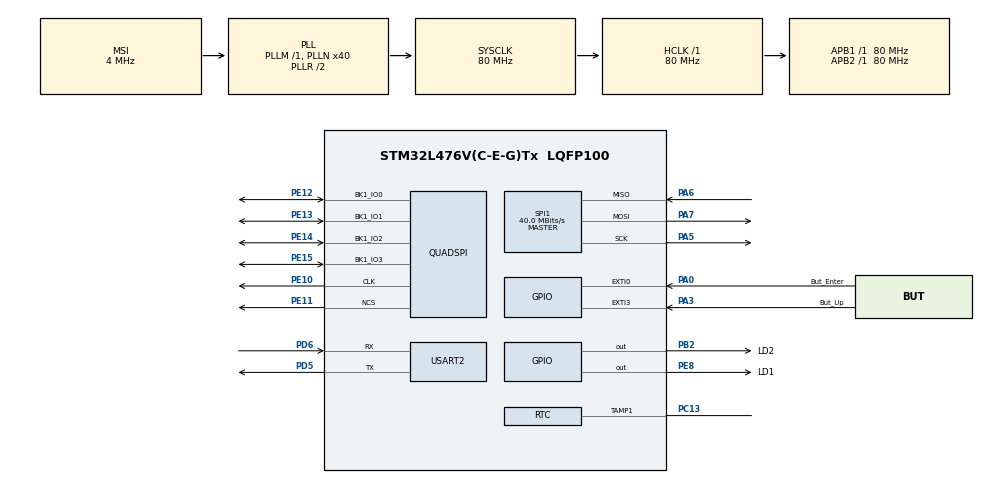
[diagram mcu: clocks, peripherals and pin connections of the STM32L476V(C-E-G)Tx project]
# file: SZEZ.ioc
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Mcu.Family=STM32L4
Mcu.Name=STM32L476V(C-E-G)Tx
Mcu.Package=LQFP100
NVIC.EXTI0_IRQn=true\:0\:0\:false\:false\:true\:true\:true
NVIC.EXTI3_IRQn=true\:0\:0\:false\:false\:true\:true\:true
NVIC.PriorityGroup=NVIC_PRIORITYGROUP_4
NVIC.RTC_WKUP_IRQn=true\:0\:0\:false\:false\:true\:true\:true
NVIC.TAMP_STAMP_IRQn=true\:0\:0\:false\:false\:true\:true\:true
NVIC.USART2_IRQn=true\:0\:0\:false\:false\:true\:true\:true
PA0.GPIO_Label=But_Enter
PA0.Signal=GPXTI0
PA3.GPIO_Label=But_Up
PA3.GPIO_PuPd=GPIO_PULLDOWN
PA3.Signal=GPXTI3
PA5.Mode=Full_Duplex_Master
PA5.Signal=SPI1_SCK
PA6.Mode=Full_Duplex_Master
PA6.Signal=SPI1_MISO
PA7.Mode=Full_Duplex_Master
PA7.Signal=SPI1_MOSI
PB2.GPIO_Label=LD2
PB2.Signal=GPIO_Output
PC13.Mode=Tamper 1 enabled
PC13.Signal=RTC_TAMP1
PC14-OSC32_IN\ (PC14).Mode=LSE-External-Oscillator
PC14-OSC32_IN\ (PC14).Signal=RCC_OSC32_IN
PC15-OSC32_OUT\ (PC15).Mode=LSE-External-Oscillator
PC15-OSC32_OUT\ (PC15).Signal=RCC_OSC32_OUT
PD5.Mode=Asynchronous
PD5.Signal=USART2_TX
PD6.Mode=Asynchronous
PD6.Signal=USART2_RX
PE10.Mode=Single Bank
PE10.Signal=QUADSPI_CLK
PE11.Mode=Single Bank
PE11.Signal=QUADSPI_NCS
PE12.Mode=Single Bank
PE12.Signal=QUADSPI_BK1_IO0
PE13.Mode=Single Bank
PE13.Signal=QUADSPI_BK1_IO1
PE14.Mode=Single Bank
PE14.Signal=QUADSPI_BK1_IO2
PE15.Mode=Single Bank
PE15.Signal=QUADSPI_BK1_IO3
PE8.GPIO_Label=LD1
PE8.Signal=GPIO_Output
ProjectManager.HeapSize=0x200
ProjectManager.StackSize=0x400
ProjectManager.TargetToolchain=TrueSTUDIO
RCC.ADCFreq_Value=16000000
RCC.AHBFreq_Value=80000000
RCC.APB1Freq_Value=80000000
RCC.APB1TimFreq_Value=80000000
RCC.APB2Freq_Value=80000000
RCC.APB2TimFreq_Value=80000000
RCC.CortexFreq_Value=80000000
RCC.HCLKFreq_Value=80000000
RCC.HSE_VALUE=8000000
RCC.HSI_VALUE=16000000
RCC.MSI_VALUE=4000000
RCC.PLLN=40
RCC.PREFETCH_ENABLE=1
RCC.RTCClockSelection=RCC_RTCCLKSOURCE_LSE
RCC.SYSCLKFreq_VALUE=80000000
RCC.SYSCLKSource=RCC_SYSCLKSOURCE_PLLCLK
RCC.USBFreq_Value=16000000
RCC.VCOOutputFreq_Value=160000000
RTC.WakeUpClock-WakeUp=RTC_WAKEUPCLOCK_CK_SPRE_16BITS
RTC.WakeUpCounter-WakeUp=4
SPI1.CalculateBaudRate=40.0 MBits/s
SPI1.Direction=SPI_DIRECTION_2LINES
SPI1.Mode=SPI_MODE_MASTER
SPI1.VirtualType=VM_MASTER
USART2.VirtualMode-Asynchronous=VM_ASYNC
VP_RTC_VS_RTC_Activate.Mode=RTC_Enabled
VP_RTC_VS_RTC_Calendar.Mode=RTC_Calendar
VP_RTC_VS_RTC_WakeUp_intern.Mode=WakeUp
board=32L476GDISCOVERY

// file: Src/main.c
/* USER CODE BEGIN Header */
/**
  ******************************************************************************
  * @file           : main.c
  * @brief          : Main program body
  ******************************************************************************
  * @attention
  *
  * <h2><center>&copy; Copyright (c) 2019 STMicroelectronics.
  * All rights reserved.</center></h2>
  *
  * This software component is licensed by ST under BSD 3-Clause license,
  * the "License"; You may not use this file except in compliance with the
  * License. You may obtain a copy of the License at:
  *                        opensource.org/licenses/BSD-3-Clause
  *
  ******************************************************************************
  */
/* USER CODE END Header */

#include "main.h"
#include "quadspi.h"
#include "rtc.h"
#include "spi.h"
#include "usart.h"
#include "gpio.h"

/* USER CODE BEGIN Includes */
#include <stdio.h>
#include <string.h>
#include "stm32l476g_discovery_qspi.h"
/* USER CODE END Includes */

/* USER CODE BEGIN PD */
#define TABSIZE 100
/* USER CODE END PD */

/* USER CODE BEGIN PV */
volatile uint8_t FlagEnter = 0;
volatile uint8_t FlagUp = 0;
/* USER CODE END PV */

void SystemClock_Config(void);
/* USER CODE BEGIN PFP */
void HAL_GPIO_EXTI_Callback(uint16_t GPIO_Pin)
{
	 if(GPIO_Pin == But_Enter_Pin)
	 {
		 FlagEnter = 1;
	 }

	 if(GPIO_Pin == But_Up_Pin)
	 {
		 FlagUp = 1;
	 }
}

/* USER CODE END PFP */

int main(void)
{
  /* USER CODE BEGIN 1 */

	char usartBuffer[50] = {0};
	uint32_t dataWrite4[TABSIZE] = {0x34};
	uint32_t dataRead4[TABSIZE] = {0x00};
	uint8_t xx = 0x10;
  /* USER CODE END 1 */

  /* MCU Configuration--------------------------------------------------------*/

  /* Reset of all peripherals, Initializes the Flash interface and the Systick. */
  HAL_Init();

  /* Configure the system clock */
  SystemClock_Config();

  /* Initialize all configured peripherals */
  MX_GPIO_Init();
  MX_QUADSPI_Init();
  MX_SPI1_Init();
  MX_USART2_UART_Init();
  MX_RTC_Init();
  /* USER CODE BEGIN 2 */
  //HAL_GPIO_TogglePin(LD1_GPIO_Port, LD1_Pin);
  BSP_QSPI_Init();
  WRITE_REG(QUADSPI->LPTR, 0xFFF);
  /* USER CODE END 2 */

  /* Infinite loop */
  /* USER CODE BEGIN WHILE */
  while (1)
  {
	  if (FlagEnter == 1)
	  {
		  HAL_GPIO_TogglePin(LD1_GPIO_Port, LD1_Pin);
		  BSP_QSPI_Erase_Block(1);
		  	  //QSPI_Flash_Erase_SubSector(i);

		  	  BSP_QSPI_Write(&xx, *dataWrite4, TABSIZE);
		  	  BSP_QSPI_Read(&xx, *dataWrite4, TABSIZE);
		  	  //QSPI_Flash_Read_Block_Byte(i*0x1000, 0x100, dataRead4);
		  	  if(memcmp(dataWrite4,dataRead4,0x100) == 0 )
		  	  {
		  		  sprintf(usartBuffer,"OK OK OK OK\r\n");
		  		  HAL_UART_Transmit(&huart2, (uint8_t*)usartBuffer,strlen(usartBuffer),0x1000);
		  	  }
		  	  else
		  	  {
		  		  sprintf(usartBuffer,"Error Error Error!!!\r\n");
		  		  HAL_UART_Transmit(&huart2, (uint8_t*)usartBuffer,strlen(usartBuffer),0x1000);
		  	  }

		  FlagEnter = 0;
	  }

	  if (FlagUp == 1)
	  {
		  HAL_GPIO_TogglePin(LD2_GPIO_Port, LD2_Pin);

	  	  FlagUp = 0;
	  }

    /* USER CODE END WHILE */

  }
}

void SystemClock_Config(void)
{
  RCC_OscInitTypeDef RCC_OscInitStruct = {0};
  RCC_ClkInitTypeDef RCC_ClkInitStruct = {0};
  RCC_PeriphCLKInitTypeDef PeriphClkInit = {0};

  /** Configure LSE Drive Capability
  */
  HAL_PWR_EnableBkUpAccess();
  __HAL_RCC_LSEDRIVE_CONFIG(RCC_LSEDRIVE_LOW);
  /** Initializes the CPU, AHB and APB busses clocks
  */
  RCC_OscInitStruct.OscillatorType = RCC_OSCILLATORTYPE_LSE|RCC_OSCILLATORTYPE_MSI;
  RCC_OscInitStruct.LSEState = RCC_LSE_ON;
  RCC_OscInitStruct.MSIState = RCC_MSI_ON;
  RCC_OscInitStruct.MSICalibrationValue = 0;
  RCC_OscInitStruct.MSIClockRange = RCC_MSIRANGE_6;
  RCC_OscInitStruct.PLL.PLLState = RCC_PLL_ON;
  RCC_OscInitStruct.PLL.PLLSource = RCC_PLLSOURCE_MSI;
  RCC_OscInitStruct.PLL.PLLM = 1;
  RCC_OscInitStruct.PLL.PLLN = 40;
  RCC_OscInitStruct.PLL.PLLP = RCC_PLLP_DIV7;
  RCC_OscInitStruct.PLL.PLLQ = RCC_PLLQ_DIV2;
  RCC_OscInitStruct.PLL.PLLR = RCC_PLLR_DIV2;
  if (HAL_RCC_OscConfig(&RCC_OscInitStruct) != HAL_OK)
  {
    Error_Handler();
  }
  /** Initializes the CPU, AHB and APB busses clocks
  */
  RCC_ClkInitStruct.ClockType = RCC_CLOCKTYPE_HCLK|RCC_CLOCKTYPE_SYSCLK
                              |RCC_CLOCKTYPE_PCLK1|RCC_CLOCKTYPE_PCLK2;
  RCC_ClkInitStruct.SYSCLKSource = RCC_SYSCLKSOURCE_PLLCLK;
  RCC_ClkInitStruct.AHBCLKDivider = RCC_SYSCLK_DIV1;
  RCC_ClkInitStruct.APB1CLKDivider = RCC_HCLK_DIV1;
  RCC_ClkInitStruct.APB2CLKDivider = RCC_HCLK_DIV1;

  if (HAL_RCC_ClockConfig(&RCC_ClkInitStruct, FLASH_LATENCY_4) != HAL_OK)
  {
    Error_Handler();
  }
  PeriphClkInit.PeriphClockSelection = RCC_PERIPHCLK_RTC|RCC_PERIPHCLK_USART2;
  PeriphClkInit.Usart2ClockSelection = RCC_USART2CLKSOURCE_PCLK1;
  PeriphClkInit.RTCClockSelection = RCC_RTCCLKSOURCE_LSE;
  if (HAL_RCCEx_PeriphCLKConfig(&PeriphClkInit) != HAL_OK)
  {
    Error_Handler();
  }
  /** Configure the main internal regulator output voltage
  */
  if (HAL_PWREx_ControlVoltageScaling(PWR_REGULATOR_VOLTAGE_SCALE1) != HAL_OK)
  {
    Error_Handler();
  }
  /** Enable MSI Auto calibration
  */
  HAL_RCCEx_EnableMSIPLLMode();
}

void Error_Handler(void)
{
}

/************************ (C) COPYRIGHT STMicroelectronics *****END OF FILE****/
